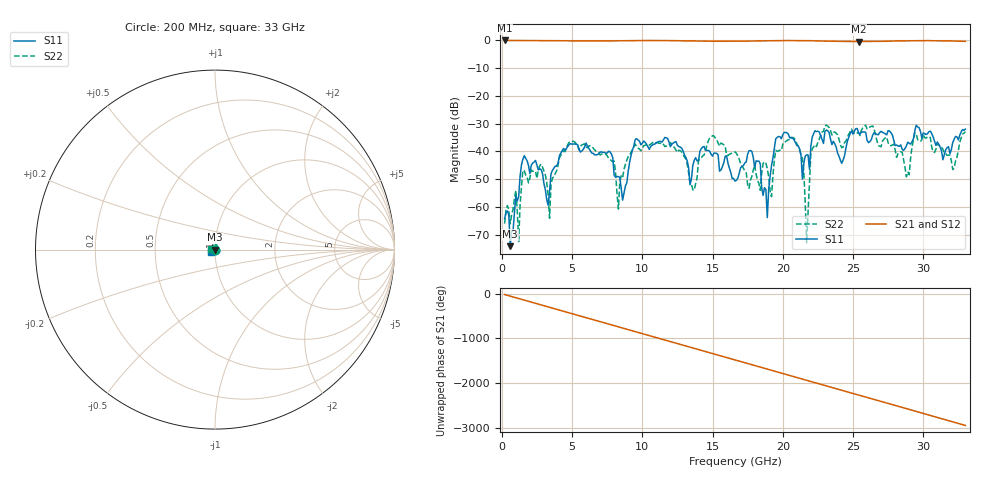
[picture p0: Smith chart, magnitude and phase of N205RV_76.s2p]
# GHZ S RI R 50
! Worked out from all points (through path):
!   329 points, 200 MHz to 33 GHz, reference 50 ohm
!   highest |S21| = -0.01 dB at 200 MHz (marker M1); lowest = -0.4 dB at 25.4 GHz (marker M2)
!   group delay of S21, straight-line fit = 248 ps
!   lowest |S11| = -74.1 dB at 600 MHz (marker M3), VSWR 1.00, Z = 50 - j0.000611 ohm
!   |S11| at or under -10 dB: start of sweep to end of sweep
!   |S22| runs from -72.8 to -30.5 dB; largest |S21 - S12| = 0.0019
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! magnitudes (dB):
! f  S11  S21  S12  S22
! 200 MHz  -64.1  0.0  0.0  -66.0
! 600 MHz  -74.1  0.0  0.0  -66.1
! 1 GHz  -56.0  0.0  0.0  -54.1
! 1.2 GHz  -56.3  0.0  0.0  -72.5
! 1.6 GHz  -41.5  0.0  0.0  -46.9
! 3.4 GHz  -54.5  -0.1  -0.1  -64.0
! 5.7 GHz  -39.8  -0.2  -0.2  -37.6
! 8 GHz  -48.6  -0.1  -0.1  -43.5
! 8.3 GHz  -49.1  -0.1  -0.1  -60.7
! 11.2 GHz  -36.4  0.0  0.0  -37.0
! 13.7 GHz  -43.2  -0.2  -0.2  -53.9
! 16.6 GHz  -50.6  -0.3  -0.3  -40.1
! 17.8 GHz  -40.0  -0.2  -0.2  -49.0
! 18.9 GHz  -63.8  -0.1  -0.1  -46.2
! 19.5 GHz  -35.4  -0.1  -0.1  -39.6
! 20.8 GHz  -35.8  -0.1  -0.1  -35.1
! 21.4 GHz  -50.0  -0.1  -0.1  -42.4
! 21.7 GHz  -41.2  -0.1  -0.1  -72.8
! 22.1 GHz  -34.9  -0.1  -0.1  -39.1
! 25.4 GHz  -33.3  -0.4  -0.4  -33.2
! 27.6 GHz  -32.6  -0.2  -0.2  -37.8
! 33 GHz  -31.9  -0.3  -0.3  -32.8
